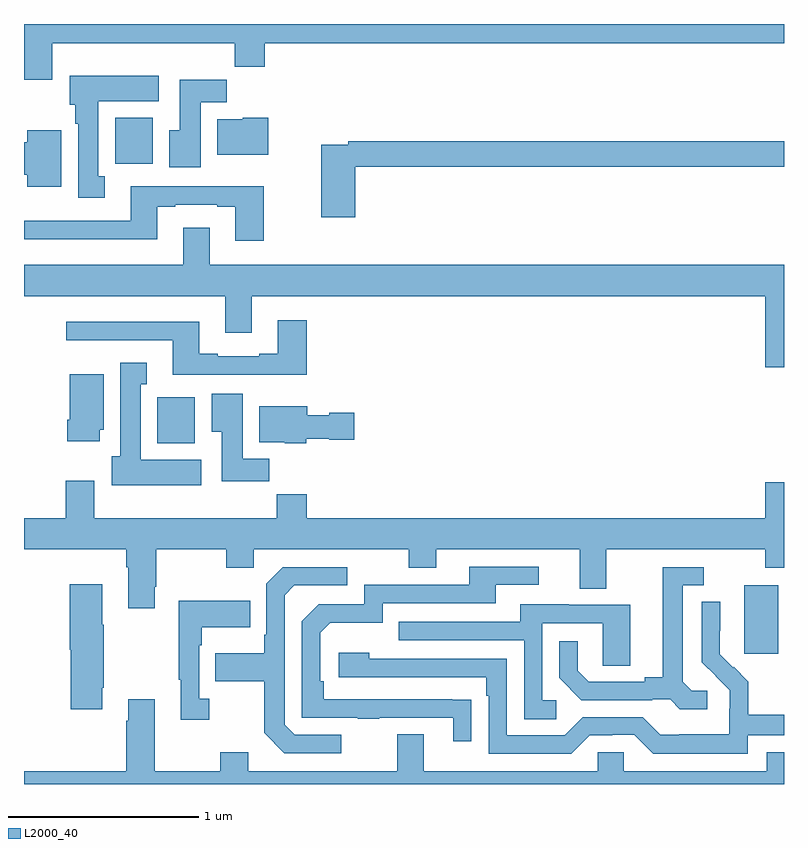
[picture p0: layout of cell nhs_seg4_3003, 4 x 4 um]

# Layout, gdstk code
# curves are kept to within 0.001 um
import gdstk
lib = gdstk.Library(unit=1e-6, precision=1e-09)
def R(c, l, rs):  # rectangles x0, y0, x1, y1
    for r in rs: c.add(gdstk.rectangle(r[:2], r[2:], *l))
def P(c, l, *ps):  # polygons
    for p in ps: c.add(gdstk.Polygon(p, *l))
L2000_40 = (2000, 40)

nhs_seg4_3003 = lib.new_cell('nhs_seg4_3003')
R(nhs_seg4_3003, L2000_40, [(272.792,813.585,272.971,813.946), (269.702,814.694,269.899,814.936), (269.48,816.164,269.677,816.406)])
P(nhs_seg4_3003, L2000_40, [(269.149,816.8),(270.109,816.8),(270.109,816.676),(270.266,816.676),(270.266,816.8),(273,816.8),(273,816.9),(269,816.9),(269,816.606),(269.149,816.606)],
  [(269.425,816.098),(269.392,816.098),(269.392,816.494),(269.71,816.494),(269.71,816.628),(269.24,816.628),(269.24,816.474),(269.27,816.474),(269.27,816.374),(269.285,816.374),(269.285,815.985),(269.425,815.985)],
  [(269.929,816.488),(270.068,816.488),(270.068,816.607),(269.819,816.607),(269.819,816.34),(269.765,816.34),(269.765,816.147),(269.929,816.147)],
  [(270.286,816.406),(270.15,816.406),(270.15,816.4),(270.017,816.4),(270.017,816.212),(270.286,816.212)],
  [(269.197,816.34),(269.018,816.34),(269.018,816.278),(269,816.278),(269,816.106),(269.018,816.106),(269.018,816.044),(269.197,816.044)],
  [(270.743,816.148),(273,816.148),(273,816.284),(270.706,816.284),(270.706,816.264),(270.565,816.264),(270.565,815.883),(270.743,815.883)],
  [(270.261,816.046),(270.025,816.046),(270.025,816.045),(269.561,816.045),(269.561,815.865),(269.001,815.865),(269.001,815.768),(269.701,815.768),(269.701,815.937),(269.797,815.937),(269.797,815.949),(270.017,815.949),(270.017,815.937),(270.113,815.937),(270.113,815.76),(270.261,815.76)],
  [(269.977,815.827),(269.837,815.827),(269.837,815.632),(269,815.632),(269,815.468),(270.059,815.468),(270.059,815.274),(270.199,815.274),(270.199,815.468),(272.9,815.468),(272.9,815.094),(273,815.094),(273,815.632),(269.977,815.632)],
  [(270.488,815.341),(270.335,815.341),(270.335,815.164),(270.239,815.164),(270.239,815.151),(270.019,815.151),(270.019,815.164),(269.923,815.164),(269.923,815.332),(269.223,815.332),(269.223,815.235),(269.783,815.235),(269.783,815.055),(270.247,815.055),(270.247,815.054),(270.488,815.054)],
  [(269.932,814.606),(269.614,814.606),(269.614,815.003),(269.647,815.003),(269.647,815.116),(269.507,815.116),(269.507,814.626),(269.462,814.626),(269.462,814.472),(269.932,814.472)],
  [(269.398,814.764),(269.419,814.764),(269.419,815.056),(269.24,815.056),(269.24,814.816),(269.228,814.816),(269.228,814.704),(269.398,814.704)],
  [(270.29,814.612),(270.151,814.612),(270.151,814.954),(269.987,814.954),(269.987,814.753),(270.041,814.753),(270.041,814.494),(270.29,814.494)],
  [(270.486,814.718),(270.606,814.718),(270.606,814.711),(270.739,814.711),(270.739,814.853),(270.606,814.853),(270.606,814.84),(270.49,814.84),(270.49,814.888),(270.239,814.888),(270.239,814.7),(270.372,814.7),(270.372,814.694),(270.486,814.694)],
  [(269.689,813.937),(269.697,813.937),(269.697,814.136),(270.064,814.136),(270.064,814.037),(270.21,814.037),(270.21,814.136),(271.024,814.136),(271.024,814.037),(271.171,814.037),(271.171,814.136),(271.925,814.136),(271.925,813.928),(272.065,813.928),(272.065,814.136),(272.902,814.136),(272.902,814.037),(273,814.037),(273,814.489),(272.9,814.489),(272.9,814.3),(270.488,814.3),(270.488,814.424),(270.331,814.424),(270.331,814.3),(269.371,814.3),(269.371,814.495),(269.219,814.495),(269.219,814.3),(269,814.3),(269,814.136),(269.537,814.136),(269.537,814.04),(269.549,814.04),(269.549,813.825),(269.689,813.825)],
  [(271.355,813.344),(270.578,813.345),(270.578,813.442),(270.558,813.442),(270.558,813.696),(270.611,813.749),(270.888,813.749),(270.888,813.852),(271.483,813.852),(271.483,813.948),(271.708,813.948),(271.708,814.044),(271.343,814.044),(271.343,813.948),(270.792,813.948),(270.792,813.846),(270.552,813.846),(270.462,813.756),(270.462,813.249),(270.757,813.249),(270.757,813.244),(270.869,813.244),(270.869,813.249),(271.259,813.249),(271.259,813.126),(271.355,813.126)],
  [(270.67,813.159),(270.426,813.159),(270.372,813.213),(270.372,813.894),(270.423,813.945),(270.7,813.945),(270.7,814.041),(270.363,814.041),(270.276,813.954),(270.276,813.685),(270.264,813.685),(270.264,813.589),(270.007,813.589),(270.007,813.442),(270.264,813.442),(270.264,813.169),(270.369,813.063),(270.67,813.063)],
  [(272.596,813.39),(272.514,813.39),(272.467,813.437),(272.467,813.945),(272.578,813.945),(272.578,814.041),(272.363,814.041),(272.363,813.461),(272.267,813.461),(272.267,813.438),(271.972,813.438),(271.915,813.495),(271.915,813.652),(271.818,813.652),(271.818,813.458),(271.934,813.342),(272.306,813.342),(272.306,813.345),(272.4,813.345),(272.452,813.293),(272.596,813.293)],
  [(269.413,813.406),(269.421,813.406),(269.421,813.737),(269.413,813.737),(269.413,813.952),(269.24,813.952),(269.24,813.606),(269.246,813.606),(269.246,813.294),(269.413,813.294)],
  [(269.974,813.35),(269.922,813.35),(269.922,813.629),(269.935,813.629),(269.935,813.725),(270.191,813.725),(270.191,813.865),(269.814,813.865),(269.814,813.449),(269.825,813.449),(269.825,813.237),(269.974,813.237)],
  [(272.808,813.156),(273,813.156),(273,813.265),(272.813,813.265),(272.813,813.439),(272.736,813.516),(272.733,813.513),(272.663,813.584),(272.664,813.86),(272.568,813.86),(272.568,813.542),(272.714,813.394),(272.714,813.297),(272.712,813.297),(272.712,813.163),(272.449,813.163),(272.449,813.159),(272.349,813.159),(272.256,813.252),(271.941,813.252),(271.845,813.156),(271.542,813.156),(271.542,813.558),(270.818,813.558),(270.818,813.592),(270.657,813.592),(270.657,813.462),(271.433,813.462),(271.433,813.365),(271.446,813.365),(271.446,813.06),(271.881,813.06),(271.977,813.156),(272.096,813.156),(272.096,813.159),(272.211,813.159),(272.311,813.059),(272.808,813.059)],
  [(271.801,813.342),(271.728,813.342),(271.728,813.747),(272.046,813.747),(272.046,813.523),(272.191,813.523),(272.191,813.843),(271.867,813.843),(271.867,813.847),(271.613,813.847),(271.613,813.753),(270.973,813.753),(270.973,813.657),(271.632,813.657),(271.632,813.241),(271.801,813.241)],
  [(273,813.067),(272.909,813.067),(272.909,812.968),(272.157,812.968),(272.157,813.066),(272.019,813.066),(272.019,812.968),(271.105,812.968),(271.105,813.163),(270.965,813.163),(270.965,812.968),(270.181,812.968),(270.181,813.067),(270.034,813.067),(270.034,812.968),(269.689,812.968),(269.689,813.346),(269.549,813.346),(269.549,813.233),(269.537,813.233),(269.537,812.968),(269,812.968),(269,812.9),(273,812.9)])

lib.write_gds('nhs_seg4_3003.gds')
